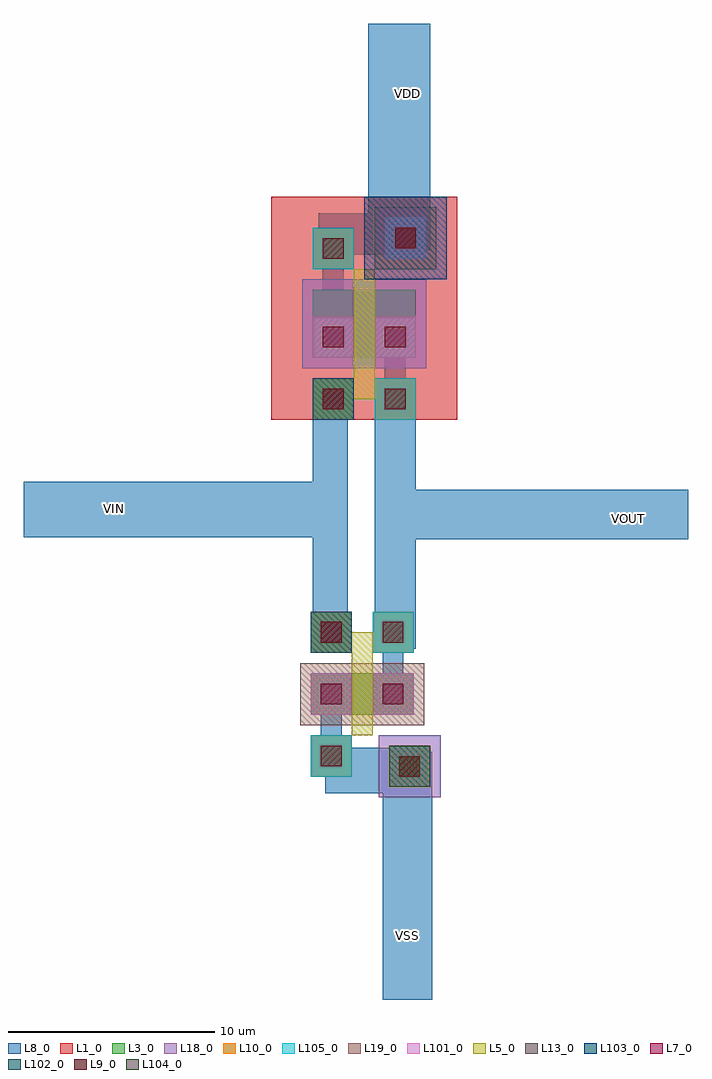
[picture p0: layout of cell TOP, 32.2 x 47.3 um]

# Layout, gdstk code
import gdstk
lib = gdstk.Library(unit=1e-6, precision=1e-07)
def R(c, l, rs):  # rectangles x0, y0, x1, y1
    for r in rs: c.add(gdstk.rectangle(r[:2], r[2:], *l))
L1_0 = (1, 0)
L3_0 = (3, 0)
L5_0 = (5, 0)
L7_0 = (7, 0)
L8_0 = (8, 0)
L9_0 = (9, 0)
L10_0 = (10, 0)
L13_0 = (13, 0)
L18_0 = (18, 0)
L19_0 = (19, 0)
L101_0 = (101, 0)
L102_0 = (102, 0)
L103_0 = (103, 0)
L104_0 = (104, 0)
L105_0 = (105, 0)

dcont = lib.new_cell('dcont')
R(dcont, L3_0, [(-1,-1,1,1)])
R(dcont, L7_0, [(-0.5,-0.5,0.5,0.5)])
R(dcont, L8_0, [(-1,-1,1,1)])
R(dcont, L13_0, [(-0.5,-0.5,0.5,0.5)])
R(dcont, L101_0, [(-1,-1,1,1)])

pcont = lib.new_cell('pcont')
R(pcont, L5_0, [(-1,-1,1,1)])
R(pcont, L7_0, [(-0.5,-0.5,0.5,0.5)])
R(pcont, L8_0, [(-1,-1,1,1)])
R(pcont, L13_0, [(-0.5,-0.5,0.5,0.5)])
R(pcont, L102_0, [(-1,-1,1,1)])

via = lib.new_cell('Via')
R(via, L8_0, [(-1,-1,1,1)])
R(via, L9_0, [(-0.5,-0.5,0.5,0.5)])
R(via, L10_0, [(-1,-1,1,1)])
R(via, L13_0, [(-0.5,-0.5,0.5,0.5)])
R(via, L105_0, [(-1,-1,1,1)])

dcont1 = lib.new_cell('dcont1')
R(dcont1, L3_0, [(-1,-1,1,1)])
R(dcont1, L7_0, [(-0.5,-0.5,0.5,0.5)])
R(dcont1, L8_0, [(-1,-1,1,1)])
R(dcont1, L13_0, [(-0.5,-0.5,0.5,0.5)])
R(dcont1, L101_0, [(-1,-1,1,1)])

nsubcont = lib.new_cell('nsubcont')
R(nsubcont, L1_0, [(-2,-2,2,2)])
R(nsubcont, L19_0, [(-1.5,-1.5,1.5,1.5)])
R(nsubcont, L103_0, [(-2,-2,2,2)])
nsubcont.add(gdstk.Reference(dcont1, (0,0)))

pch = lib.new_cell('Pch')
R(pch, L1_0, [(-2,0,7,10.8)])
R(pch, L3_0, [(0,3,5,6.3)])
R(pch, L18_0, [(-0.5,2.5,5.5,6.8)])
pch.add(gdstk.FlexPath([(1,3),(1,6.3)], 2, ends="flush", simple_path=True, layer=8, datatype=0))  # L8_0
pch.add(gdstk.FlexPath([(4,3),(4,6.3)], 2, ends="flush", simple_path=True, layer=8, datatype=0))  # L8_0
pch.add(gdstk.FlexPath([(1,5.3),(1,8.3)], 1, ends="flush", simple_path=True, layer=8, datatype=0))  # L8_0
pch.add(gdstk.FlexPath([(4,1),(4,4)], 1, ends="flush", simple_path=True, layer=8, datatype=0))  # L8_0
pch.add(gdstk.FlexPath([(2.5,3),(2.5,6.3)], 1, ends=(1, 1), simple_path=True, layer=5, datatype=0))  # L5_0
pch.add(gdstk.FlexPath([(1,1.5),(2.5,1.5),(2.5,2)], 1, ends="flush", simple_path=True, layer=5, datatype=0))  # L5_0
pch.add(gdstk.Reference(dcont, (1,4)))
pch.add(gdstk.Reference(dcont, (4,4)))
pch.add(gdstk.Reference(pcont, (1,1)))
pch.add(gdstk.Reference(via, (1,1)))
pch.add(gdstk.Reference(via, (1,8.3)))
pch.add(gdstk.Reference(via, (4,1)))
pch.add(gdstk.Reference(nsubcont, (4.5,8.8)))
pch.add(gdstk.Reference(via, (4.5,8.8)))

psubcont = lib.new_cell('psubcont')
R(psubcont, L18_0, [(-1.5,-1.5,1.5,1.5)])
R(psubcont, L104_0, [(-1,-1,1,1)])
psubcont.add(gdstk.Reference(dcont1, (0,0)))

nch_1 = lib.new_cell('Nch$1')
R(nch_1, L3_0, [(0,3,5,5)])
R(nch_1, L19_0, [(-0.5,2.5,5.5,5.5)])
nch_1.add(gdstk.FlexPath([(1,3),(1,5)], 2, ends="flush", simple_path=True, layer=8, datatype=0))  # L8_0
nch_1.add(gdstk.FlexPath([(4,3),(4,5)], 2, ends="flush", simple_path=True, layer=8, datatype=0))  # L8_0
nch_1.add(gdstk.FlexPath([(1,1),(1,4)], 1, ends="flush", simple_path=True, layer=8, datatype=0))  # L8_0
nch_1.add(gdstk.FlexPath([(4,4),(4,7)], 1, ends="flush", simple_path=True, layer=8, datatype=0))  # L8_0
nch_1.add(gdstk.FlexPath([(2.5,3),(2.5,5)], 1, ends=(1, 1), simple_path=True, layer=5, datatype=0))  # L5_0
nch_1.add(gdstk.FlexPath([(1,6.5),(2.5,6.5),(2.5,6)], 1, ends="flush", simple_path=True, layer=5, datatype=0))  # L5_0
nch_1.add(gdstk.Reference(dcont, (1,4)))
nch_1.add(gdstk.Reference(dcont, (4,4)))
nch_1.add(gdstk.Reference(pcont, (1,7)))
nch_1.add(gdstk.Reference(via, (1,7)))
nch_1.add(gdstk.Reference(via, (1,1)))
nch_1.add(gdstk.Reference(via, (4,7)))
nch_1.add(gdstk.Reference(psubcont, (4.8,0.5)))
nch_1.add(gdstk.Reference(via, (4.8,0.5)))

top = lib.new_cell('TOP')
R(top, L8_0, [(3.4,-27.4,5.8,-15.4), (0.6,-17.4,5.3,-15.2), (3,-10.4,5,1.7), (0,-10.2,1.7,2.2), (3.7,-5.1,18.2,-2.7), (-14,-5,0.7,-2.3), (0.3,8.7,5.2,10.7), (2.7,8.9,5.7,19.9)])
top.add(gdstk.Reference(pch, (0,0.7)))
top.add(gdstk.Reference(nch_1, (-0.1,-16.6)))
top.add(gdstk.Label('VOUT', (15.3,-4.1), layer=8, texttype=0))
top.add(gdstk.Label('VIN', (-9.6,-3.6), layer=8, texttype=0))
top.add(gdstk.Label('VDD', (4.6,16.5), layer=8, texttype=0))
top.add(gdstk.Label('VSS', (4.6,-24.3), layer=8, texttype=0))

lib.write_gds('TOP.gds')
